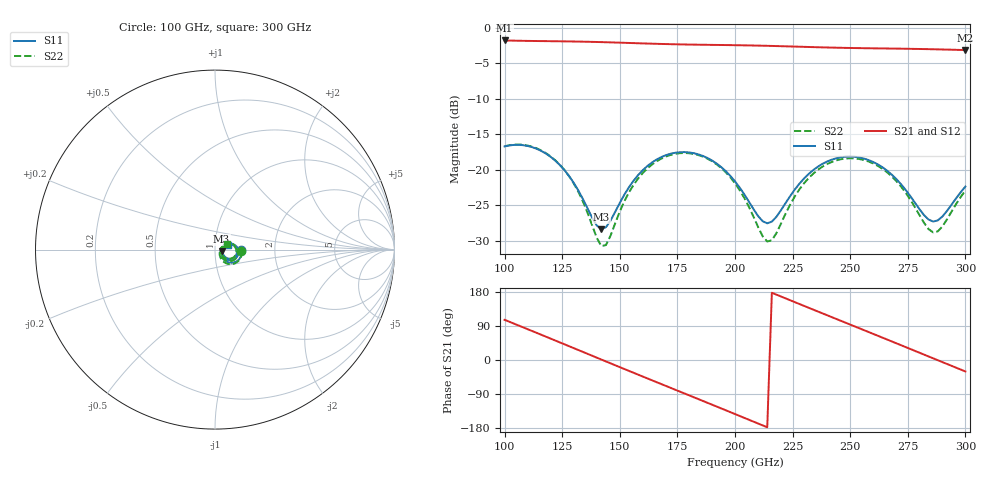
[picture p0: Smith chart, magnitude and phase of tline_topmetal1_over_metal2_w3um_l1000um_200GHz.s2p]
#  GHZ S DB R 50
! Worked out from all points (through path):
!   101 points, 100 GHz to 300 GHz, reference 50 ohm
!   highest |S21| = -1.81 dB at 100 GHz (marker M1); lowest = -3.2 dB at 300 GHz (marker M2)
!   group delay of S21, straight-line fit = 6.89 ps
!   lowest |S11| = -28.4 dB at 142 GHz (marker M3), VSWR 1.08, Z = 53.8 - j0.973 ohm
!   |S11| at or under -10 dB: start of sweep to end of sweep
!   |S22| runs from -30.8 to -16.5 dB; largest |S21 - S12| = 0
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100  -16.74 -0.3  -1.81 106.0  -1.81 106.0  -16.71 -2.4
108  -16.56 -15.2  -1.86 86.2  -1.86 86.2  -16.51 -18.1
116  -17.38 -29.6  -1.90 66.4  -1.90 66.4  -17.32 -33.6
126  -20.08 -44.2  -1.94 41.4  -1.94 41.4  -20.07 -50.6
134  -24.15 -46.1  -1.98 21.3  -1.98 21.3  -24.50 -56.4
142  -28.40 -13.7  -2.04 1.2  -2.04 1.2  -30.79 -22.1
144  -28.11 -0.5  -2.06 -3.8  -2.06 -3.8  -30.63 -2.8
156  -21.55 22.3  -2.18 -33.8  -2.18 -33.8  -22.14 25.2
168  -18.24 7.3  -2.30 -63.5  -2.30 -63.5  -18.46 7.6
176  -17.55 -6.1  -2.36 -83.2  -2.36 -83.2  -17.69 -7.1
184  -17.84 -19.6  -2.41 -102.9  -2.41 -102.9  -17.94 -22.0
200  -21.66 -39.8  -2.48 -142.6  -2.48 -142.6  -21.92 -46.7
214  -27.57 -9.9  -2.56 -177.6  -2.56 -177.6  -30.13 -15.5
218  -26.64 8.7  -2.60 172.5  -2.60 172.5  -28.94 11.8
224  -23.70 20.5  -2.65 157.6  -2.65 157.6  -24.89 26.2
234  -20.05 15.6  -2.75 132.8  -2.75 132.8  -20.56 19.1
250  -18.17 -7.9  -2.87 93.5  -2.87 93.5  -18.40 -7.2
258  -18.66 -20.4  -2.91 73.8  -2.91 73.8  -18.86 -20.9
268  -20.70 -33.1  -2.95 49.1  -2.95 49.1  -20.95 -35.4
278  -24.61 -33.7  -3.00 24.3  -3.00 24.3  -25.25 -38.4
286  -27.31 -8.7  -3.05 4.4  -3.05 4.4  -28.85 -10.6
300  -22.39 20.8  -3.16 -30.2  -3.16 -30.2  -22.95 24.5
